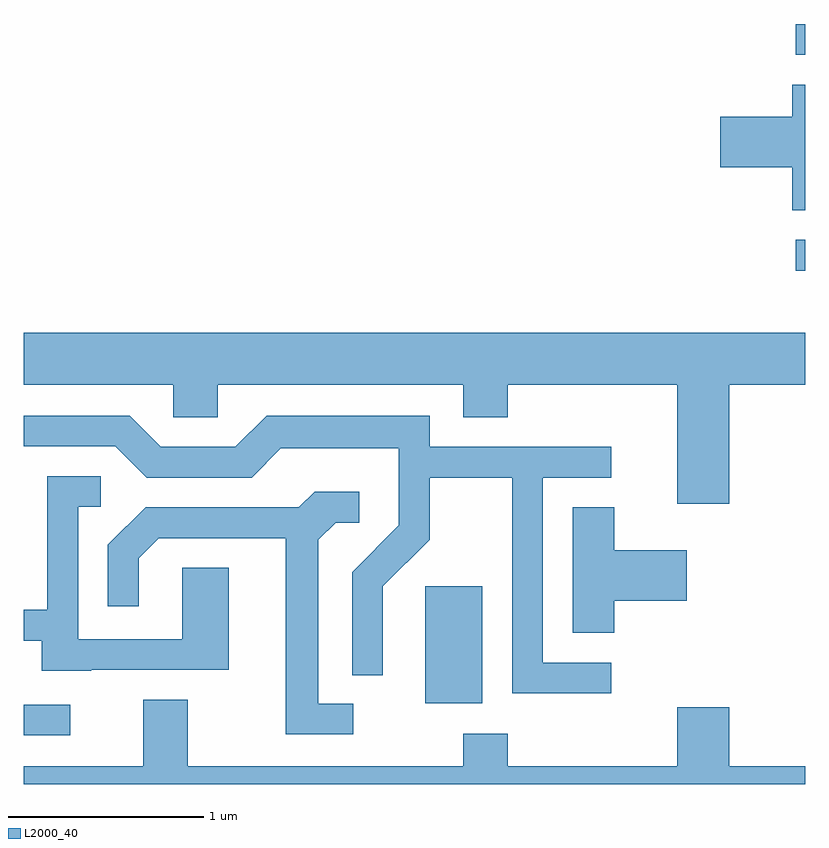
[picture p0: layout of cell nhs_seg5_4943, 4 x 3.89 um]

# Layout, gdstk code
import gdstk
lib = gdstk.Library(unit=1e-6, precision=1e-09)
def R(c, l, rs):  # rectangles x0, y0, x1, y1
    for r in rs: c.add(gdstk.rectangle(r[:2], r[2:], *l))
def P(c, l, *ps):  # polygons
    for p in ps: c.add(gdstk.Polygon(p, *l))
L2000_40 = (2000, 40)

nhs_seg5_4943 = lib.new_cell('nhs_seg5_4943')
R(nhs_seg5_4943, L2000_40, [(331.611,1468.321,331.848,1468.479), (333.666,1468.486,333.959,1469.084), (335.563,1470.701,335.611,1470.859), (335.563,1471.806,335.611,1471.964)])
P(nhs_seg5_4943, L2000_40, [(335.611,1471.654),(335.546,1471.654),(335.546,1471.489),(335.176,1471.489),(335.176,1471.231),(335.546,1471.231),(335.546,1471.011),(335.611,1471.011)],
  [(331.611,1470.116),(332.376,1470.116),(332.376,1469.951),(332.604,1469.951),(332.604,1470.116),(333.861,1470.116),(333.861,1469.951),(334.089,1469.951),(334.089,1470.116),(334.956,1470.116),(334.956,1469.506),(335.224,1469.506),(335.224,1470.116),(335.611,1470.116),(335.611,1470.384),(331.611,1470.384)],
  [(334.618,1468.694),(334.269,1468.694),(334.269,1469.641),(334.618,1469.641),(334.618,1469.799),(333.689,1469.799),(333.689,1469.959),(332.854,1469.959),(332.694,1469.799),(332.312,1469.799),(332.152,1469.959),(331.611,1469.959),(331.611,1469.801),(332.079,1469.801),(332.239,1469.641),(332.777,1469.641),(332.927,1469.791),(333.531,1469.791),(333.531,1469.397),(333.291,1469.157),(333.291,1468.628),(333.449,1468.628),(333.449,1469.084),(333.689,1469.324),(333.689,1469.641),(334.111,1469.641),(334.111,1468.536),(334.618,1468.536)],
  [(331.955,1468.656),(332.659,1468.656),(332.659,1469.179),(332.421,1469.179),(332.421,1468.814),(331.889,1468.814),(331.889,1469.491),(332.003,1469.491),(332.003,1469.649),(331.731,1469.649),(331.731,1468.964),(331.611,1468.964),(331.611,1468.806),(331.701,1468.806),(331.701,1468.651),(331.955,1468.651)],
  [(333.298,1468.484),(333.119,1468.484),(333.119,1469.324),(333.207,1469.411),(333.328,1469.411),(333.328,1469.569),(333.099,1469.569),(333.019,1469.489),(332.234,1469.489),(332.041,1469.297),(332.041,1468.983),(332.199,1468.983),(332.199,1469.229),(332.302,1469.331),(332.951,1469.331),(332.951,1468.326),(333.298,1468.326)],
  [(334.634,1469.011),(335.004,1469.011),(335.004,1469.269),(334.634,1469.269),(334.634,1469.489),(334.421,1469.489),(334.421,1468.846),(334.634,1468.846)],
  [(335.611,1468.164),(335.224,1468.164),(335.224,1468.464),(334.956,1468.464),(334.956,1468.164),(334.089,1468.164),(334.089,1468.329),(333.861,1468.329),(333.861,1468.164),(332.449,1468.164),(332.449,1468.504),(332.221,1468.504),(332.221,1468.164),(331.611,1468.164),(331.611,1468.072),(335.611,1468.072)])

lib.write_gds('nhs_seg5_4943.gds')
